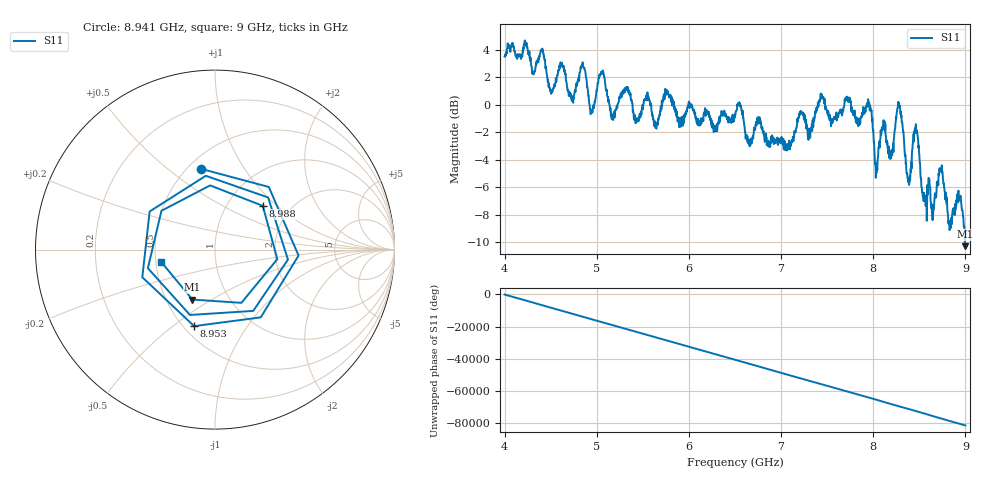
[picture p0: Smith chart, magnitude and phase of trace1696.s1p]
! Created with skrf 1.8.0 (http://scikit-rf.org).
# Hz S RI R 50.0
!freq ReS11 ImS11
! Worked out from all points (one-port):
!   1601 points, 4 GHz to 9 GHz, reference 50 ohm
!   lowest |S11| = -10.3 dB at 8.997 GHz (marker M1), VSWR 1.88, Z = 33.7 - j20.7 ohm
!   |S11| at or under -10 dB: 8.995719 GHz to end of sweep
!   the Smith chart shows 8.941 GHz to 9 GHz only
!   S11 on the Smith chart (normalised r, x): 8.941 GHz: 0.58, +0.66; 8.953 GHz: 0.56, -0.60; 8.988 GHz: 1.45, +0.82; 9 GHz: 0.54, -0.08
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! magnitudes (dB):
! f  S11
! 4 GHz  3.5
! 4.406 GHz  3.9
! 4.509 GHz  0.9
! 4.625 GHz  2.8
! 4.734 GHz  0.6
! 4.853 GHz  2.7
! 4.944 GHz  -0.5
! 5.05 GHz  2.4
! 5.169 GHz  -0.7
! 5.25 GHz  0.5
! 5.875 GHz  -0.9
! 6.5 GHz  -0.7
! 7.125 GHz  -2.6
! 7.75 GHz  0.4
! 7.956 GHz  0.2
! 8.038 GHz  -4.8
! 8.197 GHz  -3.6
! 8.281 GHz  -0.2
! 8.375 GHz  -5.3
! 8.462 GHz  -1.4
! 8.559 GHz  -6.7
! 8.734 GHz  -4.7
! 8.831 GHz  -9.0
! 8.941 GHz  -6.8
! 8.953 GHz  -7.1
! 8.988 GHz  -8.8
! 8.997 GHz  -10.3
! 9 GHz  -10.3
